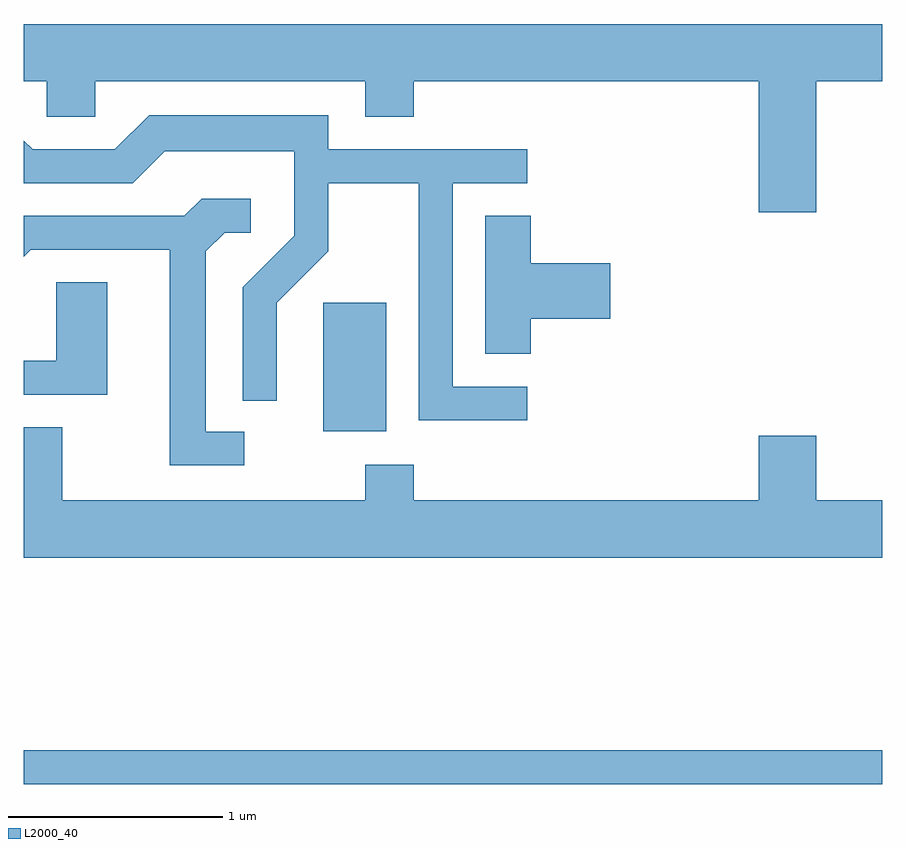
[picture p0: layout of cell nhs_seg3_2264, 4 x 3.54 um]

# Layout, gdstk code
import gdstk
lib = gdstk.Library(unit=1e-6, precision=1e-09)
def R(c, l, rs):  # rectangles x0, y0, x1, y1
    for r in rs: c.add(gdstk.rectangle(r[:2], r[2:], *l))
def P(c, l, *ps):  # polygons
    for p in ps: c.add(gdstk.Polygon(p, *l))
L2000_40 = (2000, 40)

nhs_seg3_2264 = lib.new_cell('nhs_seg3_2264')
R(nhs_seg3_2264, L2000_40, [(251.611,1156.041,255.611,1156.199), (253.006,1157.686,253.299,1158.284)])
P(nhs_seg3_2264, L2000_40, [(255.304,1159.316),(255.611,1159.316),(255.611,1159.584),(251.611,1159.584),(251.611,1159.316),(251.716,1159.316),(251.716,1159.151),(251.944,1159.151),(251.944,1159.316),(253.201,1159.316),(253.201,1159.151),(253.429,1159.151),(253.429,1159.316),(255.036,1159.316),(255.036,1158.706),(255.304,1158.706)],
  [(253.958,1157.894),(253.609,1157.894),(253.609,1158.841),(253.958,1158.841),(253.958,1158.999),(253.029,1158.999),(253.029,1159.159),(252.194,1159.159),(252.034,1158.999),(251.652,1158.999),(251.611,1159.04),(251.611,1158.841),(252.117,1158.841),(252.267,1158.991),(252.871,1158.991),(252.871,1158.597),(252.631,1158.357),(252.631,1157.828),(252.789,1157.828),(252.789,1158.284),(253.029,1158.524),(253.029,1158.841),(253.451,1158.841),(253.451,1157.736),(253.958,1157.736)],
  [(252.638,1157.684),(252.459,1157.684),(252.459,1158.524),(252.547,1158.611),(252.668,1158.611),(252.668,1158.769),(252.439,1158.769),(252.359,1158.689),(251.611,1158.689),(251.611,1158.5),(251.642,1158.531),(252.291,1158.531),(252.291,1157.526),(252.638,1157.526)],
  [(253.974,1158.211),(254.344,1158.211),(254.344,1158.469),(253.974,1158.469),(253.974,1158.689),(253.761,1158.689),(253.761,1158.046),(253.974,1158.046)],
  [(251.999,1158.379),(251.761,1158.379),(251.761,1158.014),(251.611,1158.014),(251.611,1157.856),(251.999,1157.856)],
  [(255.611,1157.364),(255.304,1157.364),(255.304,1157.664),(255.036,1157.664),(255.036,1157.364),(253.429,1157.364),(253.429,1157.529),(253.201,1157.529),(253.201,1157.364),(251.789,1157.364),(251.789,1157.704),(251.611,1157.704),(251.611,1157.096),(255.611,1157.096)])

lib.write_gds('nhs_seg3_2264.gds')
